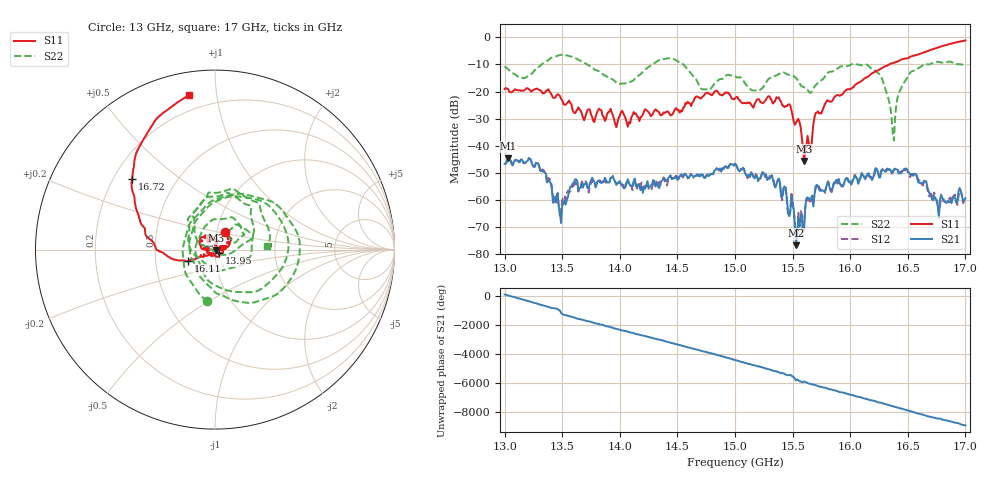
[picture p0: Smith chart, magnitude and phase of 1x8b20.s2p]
!Keysight Technologies,P9374A,MY57211807,A.19.30.04
!Date: Friday, May 08, 2026 14:25:47
!Correction: S11(C  2-Port  )
!S21(C  2-Port  )
!S12(C  2-Port  )
!S22(C  2-Port  )
!S2P File: Measurements: S11, S21, S12, S22:
# Hz S  dB  R 50
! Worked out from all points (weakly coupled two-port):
!   401 points, 13 GHz to 17 GHz, reference 50 ohm
!   highest |S21| = -44.65 dB at 13.03 GHz (marker M1); lowest = -76.8 dB at 15.53 GHz (marker M2)
!   lowest |S11| = -45.6 dB at 15.6 GHz (marker M3), VSWR 1.01, Z = 50.4 - j0.291 ohm
!   |S11| at or under -10 dB: start of sweep to 16.34 GHz
!   |S22| runs from -38.1 to -6.5 dB; largest |S21 - S12| = 0.0006
!   S11 on the Smith chart (normalised r, x): 13 GHz: 1.09, +0.21; 13.95 GHz: 1.05, -0.04; 16.11 GHz: 0.73, -0.10; 16.72 GHz: 0.28, +0.34; 17 GHz: 0.12, +0.84
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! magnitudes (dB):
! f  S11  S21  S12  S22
! 13 GHz  -19.1  -46.6  -46.8  -10.7
! 13.03 GHz  -19.0  -44.7  -44.7  -11.7
! 13.29 GHz  -19.2  -46.4  -46.2  -11.1
! 13.49 GHz  -22.7  -68.5  -63.8  -6.5
! 13.67 GHz  -28.1  -54.0  -53.2  -8.9
! 13.95 GHz  -30.2  -52.5  -52.3  -15.9
! 14.34 GHz  -27.6  -55.6  -54.3  -8.5
! 14.73 GHz  -21.5  -51.8  -51.5  -19.2
! 15 GHz  -22.4  -46.6  -46.7  -14.4
! 15.19 GHz  -22.9  -51.1  -51.1  -19.7
! 15.37 GHz  -22.4  -52.7  -52.9  -13.8
! 15.53 GHz  -31.5  -76.8  -77.0  -15.1
! 15.6 GHz  -45.6  -70.7  -68.5  -18.4
! 15.67 GHz  -36.7  -58.3  -59.4  -19.7
! 15.79 GHz  -23.9  -55.5  -55.5  -13.8
! 16.11 GHz  -15.8  -50.8  -51.3  -10.3
! 16.26 GHz  -11.8  -51.7  -51.8  -13.9
! 16.34 GHz  -10.0  -48.6  -48.6  -24.1
! 16.38 GHz  -9.4  -48.7  -49.0  -38.1
! 16.51 GHz  -7.5  -50.0  -50.8  -13.7
! 16.72 GHz  -4.4  -60.1  -58.4  -9.4
! 17 GHz  -1.2  -59.3  -59.0  -10.7
